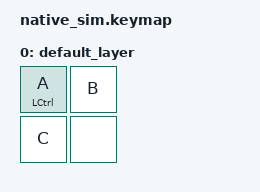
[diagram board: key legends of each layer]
#include <dt-bindings/zmk/keys.h>
#include <behaviors.dtsi>
#include <dt-bindings/zmk/kscan_mock.h>

&mt {
    flavor = "hold-preferred";
};

/* this test checks if hold-taps can be part of a combo */
/ {
    combos {
        compatible = "dax,runtime-combo-defaults";
        combo_two {
            timeout-ms = <100>;
            key-positions = <0 1>;
            bindings = <&kp Y>;
        };
    };

    keymap {
        compatible = "zmk,keymap";

        default_layer {
            bindings = <
                &mt LEFT_CONTROL A &kp B
                &kp C &none
            >;
        };
    };
};

&kscan {
    events = <
        ZMK_MOCK_PRESS(0,0,10)
        ZMK_MOCK_PRESS(0,1,10)
        ZMK_MOCK_PRESS(0,2,10)
        ZMK_MOCK_RELEASE(0,0,10)
        ZMK_MOCK_RELEASE(0,1,10)
        ZMK_MOCK_RELEASE(0,2,10)
    >;
};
